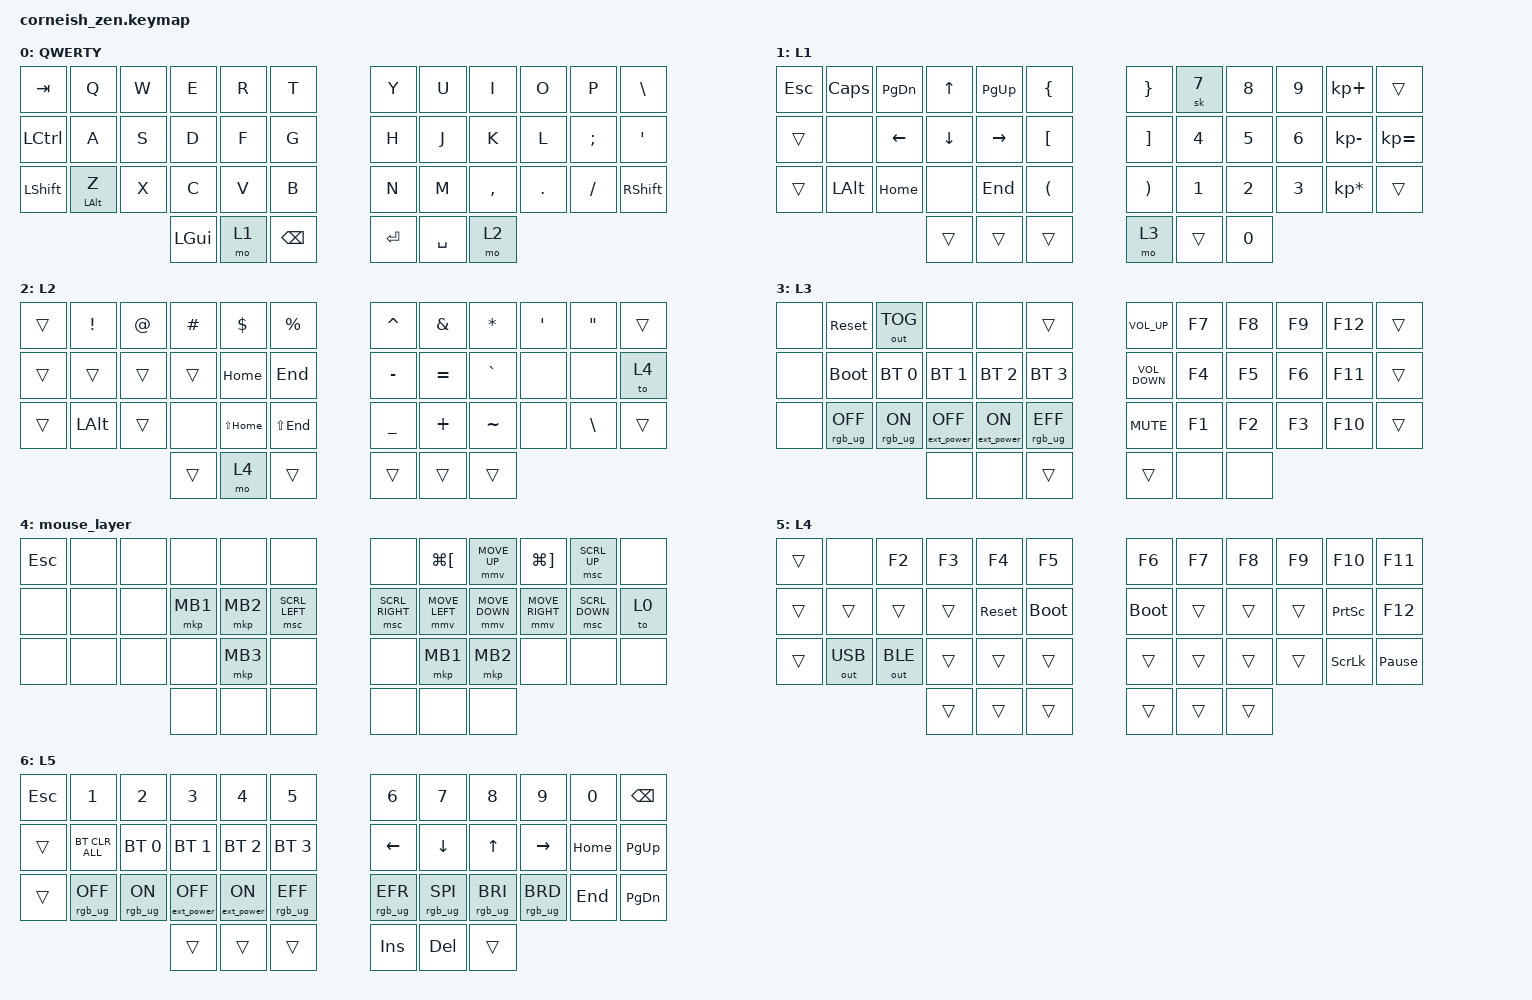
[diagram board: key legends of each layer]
/*
 * Copyright (c) 2020 The ZMK Contributors
 *
 * SPDX-License-Identifier: MIT
 */

#include <dt-bindings/zmk/mouse.h>
#include <behaviors.dtsi>
#include <dt-bindings/zmk/bt.h>
#include <dt-bindings/zmk/ext_power.h>
#include <dt-bindings/zmk/keys.h>
#include <dt-bindings/zmk/outputs.h>
#include <dt-bindings/zmk/pointing.h>
#include <dt-bindings/zmk/rgb.h>

#define ZMK_POINTING_DEFAULT_MOVE_VAL 1400
#define ZMK_POINTING_DEFAULT_SCRL_VAL 20

&mt { tapping-term-ms = <300>; };

/ {
    chosen {
        zmk,matrix_transform = &default_transform;

        // zmk,matrix_transform = &five_column_transform;
    };
};

/ {
    behaviors {
        td0: td0 {
            compatible = "zmk,behavior-tap-dance";
            label = "TD0";
            #binding-cells = <0>;
            bindings = <&kp LEFT_SHIFT>, <&kp CAPS>;
        };
    };

    combos {
        compatible = "zmk,combos";

        toggle_layer_4 {
            bindings = <&tog 5>;
            key-positions = <16 37 13 14>;
        };

        toggle_layer_5 {
            bindings = <&tog 6>;
            key-positions = <13 14 17 37>;
        };

        r_toggle_layer_4 {
            bindings = <&tog 5>;
            key-positions = <22 21 40 19>;
        };

        r_toggle_layer_5 {
            bindings = <&tog 6>;
            key-positions = <22 21 18 40>;
        };

        dash {
            bindings = <&kp MINUS>;
            key-positions = <18 19>;
        };

        underscore {
            bindings = <&kp UNDERSCORE>;
            key-positions = <31 30>;
        };
    };

    keymap {
        compatible = "zmk,keymap";

        default_layer {
            display-name = "QWERTY";

            // --------------------------------------------------------------------------------
            // |  TAB |  Q  |  W  |  E  |  R  |  T  |   |  Y  |  U   |  I  |  O  |  P  | BKSP |
            // | CTRL |  A  |  S  |  D  |  F  |  G  |   |  H  |  J   |  K  |  L  |  ;  |  '   | 
            // | SHFT |  Z  |  X  |  C  |  V  |  B  |   |  N  |  M   |  ,  |  .  |  /  | ESC  |
            //                    | GUI | LWR | SPC |   | ENT | RSE  | ALT |

            bindings = <
&kp TAB         &kp Q           &kp W  &kp E     &kp R  &kp T            &kp Y      &kp U      &kp I      &kp O    &kp P     &kp BACKSLASH
&kp LCTRL       &kp A           &kp S  &kp D     &kp F  &kp G            &kp H      &kp J      &kp K      &kp L    &kp SEMI  &kp SQT
&kp LEFT_SHIFT  &mt LEFT_ALT Z  &kp X  &kp C     &kp V  &kp B            &kp N      &kp M      &kp COMMA  &kp DOT  &kp FSLH  &kp RIGHT_SHIFT
                                       &kp LGUI  &mo 1  &kp BACKSPACE    &kp ENTER  &kp SPACE  &mo 2
            >;
        };

        nav_layer {
            bindings = <
&kp ESCAPE  &kp CAPS      &kp PG_DN  &kp UP    &kp PAGE_UP  &kp LEFT_BRACE    &kp RBRC  &sk NUMBER_7  &kp NUMBER_8  &kp NUMBER_9  &kp KP_PLUS      &trans
&trans      &none         &kp LEFT   &kp DOWN  &kp RIGHT    &kp LBKT          &kp RBKT  &kp NUMBER_4  &kp NUMBER_5  &kp NUMBER_6  &kp KP_MINUS     &kp KP_EQUAL
&trans      &kp LEFT_ALT  &kp HOME   &none     &kp END      &kp LPAR          &kp RPAR  &kp NUMBER_1  &kp NUMBER_2  &kp NUMBER_3  &kp KP_MULTIPLY  &trans
                                     &trans    &trans       &trans            &mo 3     &trans        &kp NUMBER_0
            >;

            label = "L1";
        };

        sim_layer {
            bindings = <
&trans  &kp EXCL      &kp AT_SIGN  &kp HASH  &kp DOLLAR    &kp PERCENT    &kp CARET       &kp AMPERSAND  &kp ASTERISK  &kp SQT  &kp DOUBLE_QUOTES  &trans
&trans  &trans        &trans       &trans    &kp HOME      &kp END        &kp MINUS       &kp EQUAL      &kp GRAVE     &none    &none              &to 4
&trans  &kp LEFT_ALT  &trans       &none     &kp LS(HOME)  &kp LS(END)    &kp UNDERSCORE  &kp PLUS       &kp TILDE     &none    &kp BACKSLASH      &trans
                                   &trans    &mo 4         &trans         &trans          &trans         &trans
            >;

            label = "L2";
        };

        adjust_layer {
            display-name = "L3";

            // -----------------------------------------------------------------------------------------
            // |  TAB |  !  |  @  |  #  |  $  |  %  |   |  ^  |  &  |  *  |  (  |  )  | BKSP |
            // | CTRL |     |     |     |     |     |   |  -  |  =  |  [  |  ]  |  \  |  `   |
            // | SHFT |     |     |     |     |     |   |  _  |  +  |  {  |  }  | "|" |  ~   |
            //                    | GUI |     | SPC |   | ENT |     | ALT |

            bindings = <
&none  &sys_reset       &out OUT_TOG    &none              &none             &trans             &kp C_VOLUME_UP    &kp F7  &kp F8  &kp F9  &kp F12  &trans
&none  &bootloader      &bt BT_SEL 0    &bt BT_SEL 1       &bt BT_SEL 2      &bt BT_SEL 3       &kp C_VOLUME_DOWN  &kp F4  &kp F5  &kp F6  &kp F11  &trans
&none  &rgb_ug RGB_OFF  &rgb_ug RGB_ON  &ext_power EP_OFF  &ext_power EP_ON  &rgb_ug RGB_EFF    &kp K_MUTE         &kp F1  &kp F2  &kp F3  &kp F10  &trans
                                        &none              &none             &trans             &trans             &none   &none
            >;
        };

        mouse_layer {
            bindings = <
&kp ESC  &none  &none  &none     &none     &none             &none            &kp LG(LBKT)    &mmv MOVE_UP    &kp LG(RBKT)     &msc SCRL_UP    &none
&none    &none  &none  &mkp MB1  &mkp MB2  &msc SCRL_LEFT    &msc SCRL_RIGHT  &mmv MOVE_LEFT  &mmv MOVE_DOWN  &mmv MOVE_RIGHT  &msc SCRL_DOWN  &to 0
&none    &none  &none  &none     &mkp MB3  &none             &none            &mkp MB1        &mkp MB2        &none            &none           &none
                       &none     &none     &none             &none            &none           &none
            >;
        };

        layer_4 {
            display-name = "L4";
            bindings = <
&trans  &none         &kp F2        &kp F3  &kp F4      &kp F5         &kp F6       &kp F7  &kp F8  &kp F9  &kp F10          &kp F11
&trans  &trans        &trans        &trans  &sys_reset  &bootloader    &bootloader  &trans  &trans  &trans  &kp PRINTSCREEN  &kp F12
&trans  &out OUT_USB  &out OUT_BLE  &trans  &trans      &trans         &trans       &trans  &trans  &trans  &kp SCROLLLOCK   &kp PAUSE_BREAK
                                    &trans  &trans      &trans         &trans       &trans  &trans
            >;
        };

        lower_layer {
            display-name = "L5";

            // -----------------------------------------------------------------------------------------
            // |  TAB |  1  |  2  |  3  |  4  |  5  |   |  6  |  7  |  8  |  9  |  0  | BKSP |
            // | BTCLR| BT1 | BT2 | BT3 | BT4 | BT5 |   | LFT | DWN |  UP | RGT |     |      |
            // | SHFT |     |     |     |     |     |   |     |     |     |     |     |      |
            //                    | GUI |     | SPC |   | ENT |     | ALT |

            bindings = <
&kp ESCAPE  &kp N1           &kp N2          &kp N3             &kp N4            &kp N5             &kp N6           &kp N7           &kp N8           &kp N9           &kp N0    &kp BSPC
&trans      &bt BT_CLR_ALL   &bt BT_SEL 0    &bt BT_SEL 1       &bt BT_SEL 2      &bt BT_SEL 3       &kp LEFT         &kp DOWN         &kp UP           &kp RIGHT        &kp HOME  &kp PG_UP
&trans      &rgb_ug RGB_OFF  &rgb_ug RGB_ON  &ext_power EP_OFF  &ext_power EP_ON  &rgb_ug RGB_EFF    &rgb_ug RGB_EFR  &rgb_ug RGB_SPI  &rgb_ug RGB_BRI  &rgb_ug RGB_BRD  &kp END   &kp PG_DN
                                             &trans             &trans            &trans             &kp INS          &kp DEL          &trans
            >;
        };
    };
};
